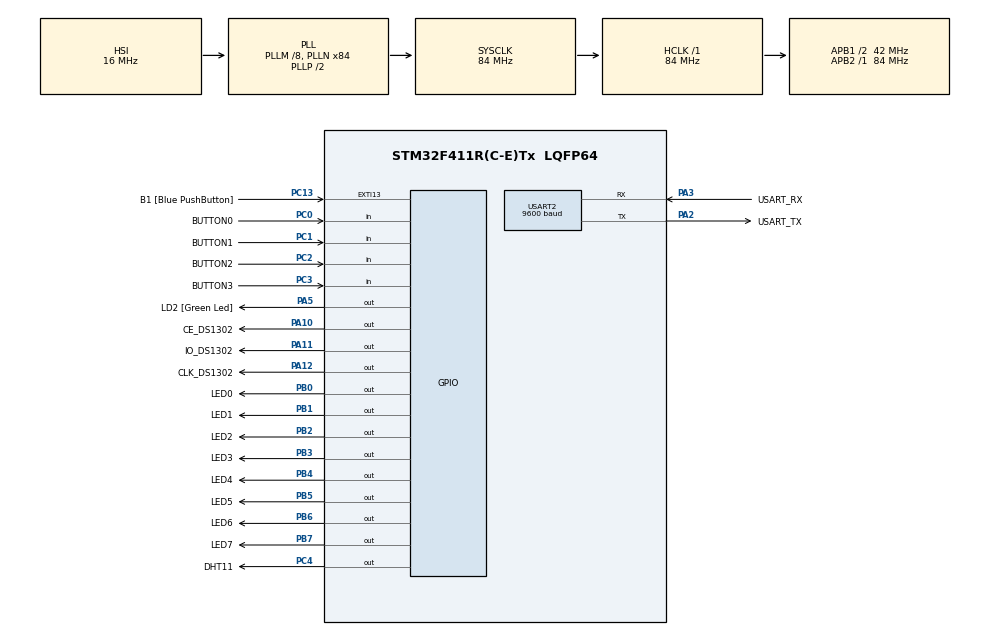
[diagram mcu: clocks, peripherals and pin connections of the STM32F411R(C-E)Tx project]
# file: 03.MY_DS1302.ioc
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Mcu.Family=STM32F4
Mcu.Name=STM32F411R(C-E)Tx
Mcu.Package=LQFP64
NVIC.PriorityGroup=NVIC_PRIORITYGROUP_0
NVIC.TIM1_UP_TIM10_IRQn=true\:0\:0\:false\:false\:true\:true\:true\:true
NVIC.USART2_IRQn=true\:0\:0\:false\:false\:true\:true\:true\:true
PA10.GPIO_Label=CE_DS1302
PA10.Signal=GPIO_Output
PA11.GPIO_Label=IO_DS1302
PA11.Signal=GPIO_Output
PA12.GPIO_Label=CLK_DS1302
PA12.Signal=GPIO_Output
PA13.GPIO_Label=TMS
PA13.Mode=Serial_Wire
PA13.Signal=SYS_JTMS-SWDIO
PA14.GPIO_Label=TCK
PA14.Mode=Serial_Wire
PA14.Signal=SYS_JTCK-SWCLK
PA2.GPIO_Label=USART_TX
PA2.Mode=Asynchronous
PA2.Signal=USART2_TX
PA3.GPIO_Label=USART_RX
PA3.Mode=Asynchronous
PA3.Signal=USART2_RX
PA5.GPIO_Label=LD2 [Green Led]
PA5.Signal=GPIO_Output
PB0.GPIO_Label=LED0
PB0.Signal=GPIO_Output
PB1.GPIO_Label=LED1
PB1.Signal=GPIO_Output
PB2.GPIO_Label=LED2
PB2.Signal=GPIO_Output
PB3.GPIO_Label=LED3
PB3.Signal=GPIO_Output
PB4.GPIO_Label=LED4
PB4.Signal=GPIO_Output
PB5.GPIO_Label=LED5
PB5.Signal=GPIO_Output
PB6.GPIO_Label=LED6
PB6.Signal=GPIO_Output
PB7.GPIO_Label=LED7
PB7.Signal=GPIO_Output
PC0.GPIO_Label=BUTTON0
PC0.Signal=GPIO_Input
PC1.GPIO_Label=BUTTON1
PC1.Signal=GPIO_Input
PC13-ANTI_TAMP.GPIO_Label=B1 [Blue PushButton]
PC13-ANTI_TAMP.GPIO_ModeDefaultEXTI=GPIO_MODE_IT_FALLING
PC13-ANTI_TAMP.Signal=GPXTI13
PC14-OSC32_IN.Mode=LSE-External-Oscillator
PC14-OSC32_IN.Signal=RCC_OSC32_IN
PC15-OSC32_OUT.Mode=LSE-External-Oscillator
PC15-OSC32_OUT.Signal=RCC_OSC32_OUT
PC2.GPIO_Label=BUTTON2
PC2.Signal=GPIO_Input
PC3.GPIO_Label=BUTTON3
PC3.Signal=GPIO_Input
PC4.GPIO_Label=DHT11
PC4.Signal=GPIO_Output
PH0\ -\ OSC_IN.Mode=HSE-External-Clock-Source
PH0\ -\ OSC_IN.Signal=RCC_OSC_IN
PH1\ -\ OSC_OUT.Mode=HSE-External-Clock-Source
PH1\ -\ OSC_OUT.Signal=RCC_OSC_OUT
ProjectManager.HeapSize=0x200
ProjectManager.StackSize=0x400
ProjectManager.TargetToolchain=STM32CubeIDE
RCC.48MHZClocksFreq_Value=42000000
RCC.AHBFreq_Value=84000000
RCC.APB1CLKDivider=RCC_HCLK_DIV2
RCC.APB1Freq_Value=42000000
RCC.APB1TimFreq_Value=84000000
RCC.APB2Freq_Value=84000000
RCC.APB2TimFreq_Value=84000000
RCC.CortexFreq_Value=84000000
RCC.FLatency-AdvancedSettings=FLASH_LATENCY_2
RCC.HCLKFreq_Value=84000000
RCC.HSE_VALUE=8000000
RCC.HSI_VALUE=16000000
RCC.PLLM=8
RCC.PLLN=84
RCC.SYSCLKFreq_VALUE=84000000
RCC.SYSCLKSource=RCC_SYSCLKSOURCE_PLLCLK
RCC.VCOOutputFreq_Value=168000000
TIM10.Period=1000-1
TIM10.Prescaler=84-1
TIM2.Prescaler=84-1
USART2.BaudRate=9600
USART2.VirtualMode=VM_ASYNC
VP_TIM10_VS_ClockSourceINT.Mode=Enable_Timer
VP_TIM2_VS_ClockSourceINT.Mode=Internal
board=NUCLEO-F411RE

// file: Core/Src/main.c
/* USER CODE BEGIN Header */
/**
  ******************************************************************************
  * @file           : main.c
  * @brief          : Main program body
  ******************************************************************************
  */
/* USER CODE END Header */

#include "main.h"
#include <stdio.h>

TIM_HandleTypeDef htim2;
TIM_HandleTypeDef htim10;
UART_HandleTypeDef huart2;

/* USER CODE BEGIN PV */
volatile int TIM10_1ms_counter = 0;
volatile int TIM10_1ms_ledcnt = 0;
uint8_t rx_data; // uart tx data
/* USER CODE END PV */

void SystemClock_Config(void);
static void MX_GPIO_Init(void);
static void MX_USART2_UART_Init(void);
static void MX_TIM10_Init(void);
static void MX_TIM2_Init(void);

/* USER CODE BEGIN PFP */
extern void delay_us(unsigned int us);
extern void pc_command_processing(void); // uart2.c : 명령어 처리
extern void DS1302_Init(void);           // ds1302.c : 초기화
extern void DS1302_read(void);  // ds1302.c : 1초마다 출력
/* USER CODE END PFP */

/* USER CODE BEGIN 0 */
void HAL_TIM_PeriodElapsedCallback(TIM_HandleTypeDef *htim)
{
    if (htim->Instance == TIM10)
    {
        TIM10_1ms_counter++;
        TIM10_1ms_ledcnt++;
    }
}

#ifdef __GNUC__
#define PUTCHAR_PROTOTYPE int __io_putchar(int ch)
#else
#define PUTCHAR_PROTOTYPE int fputc(int ch, FILE *f)
#endif /* __GNUC__ */

PUTCHAR_PROTOTYPE
{
  HAL_UART_Transmit(&huart2, (uint8_t *)&ch, 1, 0xFFFF);
  return ch;
}
/* USER CODE END 0 */

int main(void)
{
  /* MCU Configuration--------------------------------------------------------*/
  HAL_Init();
  SystemClock_Config();

  /* Initialize all configured peripherals */
  MX_GPIO_Init();
  MX_USART2_UART_Init();
  MX_TIM10_Init();
  MX_TIM2_Init();

  /* USER CODE BEGIN 2 */

  HAL_TIM_Base_Start_IT(&htim10);
  HAL_TIM_Base_Start_IT(&htim2);
  HAL_UART_Receive_IT(&huart2, &rx_data, 1);

  DS1302_Init();

  printf("main start !!!\n");
  /* USER CODE END 2 */

  /* Infinite loop */
  /* USER CODE BEGIN WHILE */
  while (1)
  {

      pc_command_processing();

      DS1302_read();

//      HAL_GPIO_WritePin(GPIOB, GPIO_PIN_0 | GPIO_PIN_1 | GPIO_PIN_2 | GPIO_PIN_3 |
//                               GPIO_PIN_4 | GPIO_PIN_5 | GPIO_PIN_6 | GPIO_PIN_7, 1);
//      delay_us(50000); // 50ms
//
//      HAL_GPIO_WritePin(GPIOB, GPIO_PIN_0 | GPIO_PIN_1 | GPIO_PIN_2 | GPIO_PIN_3 |
//                               GPIO_PIN_4 | GPIO_PIN_5 | GPIO_PIN_6 | GPIO_PIN_7, 0);
//      delay_us(50000); // 50ms

    /* USER CODE END WHILE */

  }
}

void SystemClock_Config(void)
{
  RCC_OscInitTypeDef RCC_OscInitStruct = {0};
  RCC_ClkInitTypeDef RCC_ClkInitStruct = {0};

  __HAL_RCC_PWR_CLK_ENABLE();
  __HAL_PWR_VOLTAGESCALING_CONFIG(PWR_REGULATOR_VOLTAGE_SCALE1);

  RCC_OscInitStruct.OscillatorType = RCC_OSCILLATORTYPE_HSI;
  RCC_OscInitStruct.HSIState = RCC_HSI_ON;
  RCC_OscInitStruct.HSICalibrationValue = RCC_HSICALIBRATION_DEFAULT;
  RCC_OscInitStruct.PLL.PLLState = RCC_PLL_ON;
  RCC_OscInitStruct.PLL.PLLSource = RCC_PLLSOURCE_HSI;
  RCC_OscInitStruct.PLL.PLLM = 8;
  RCC_OscInitStruct.PLL.PLLN = 84;
  RCC_OscInitStruct.PLL.PLLP = RCC_PLLP_DIV2;
  RCC_OscInitStruct.PLL.PLLQ = 4;
  if (HAL_RCC_OscConfig(&RCC_OscInitStruct) != HAL_OK)
  {
    Error_Handler();
  }

  RCC_ClkInitStruct.ClockType = RCC_CLOCKTYPE_HCLK|RCC_CLOCKTYPE_SYSCLK
                              |RCC_CLOCKTYPE_PCLK1|RCC_CLOCKTYPE_PCLK2;
  RCC_ClkInitStruct.SYSCLKSource = RCC_SYSCLKSOURCE_PLLCLK;
  RCC_ClkInitStruct.AHBCLKDivider = RCC_SYSCLK_DIV1;
  RCC_ClkInitStruct.APB1CLKDivider = RCC_HCLK_DIV2;
  RCC_ClkInitStruct.APB2CLKDivider = RCC_HCLK_DIV1;

  if (HAL_RCC_ClockConfig(&RCC_ClkInitStruct, FLASH_LATENCY_2) != HAL_OK)
  {
    Error_Handler();
  }
}

static void MX_TIM2_Init(void)
{
  TIM_ClockConfigTypeDef sClockSourceConfig = {0};
  TIM_MasterConfigTypeDef sMasterConfig = {0};

  htim2.Instance = TIM2;
  htim2.Init.Prescaler = 84-1;
  htim2.Init.CounterMode = TIM_COUNTERMODE_UP;
  htim2.Init.Period = 4294967295;
  htim2.Init.ClockDivision = TIM_CLOCKDIVISION_DIV1;
  htim2.Init.AutoReloadPreload = TIM_AUTORELOAD_PRELOAD_DISABLE;
  if (HAL_TIM_Base_Init(&htim2) != HAL_OK) Error_Handler();

  sClockSourceConfig.ClockSource = TIM_CLOCKSOURCE_INTERNAL;
  if (HAL_TIM_ConfigClockSource(&htim2, &sClockSourceConfig) != HAL_OK) Error_Handler();

  sMasterConfig.MasterOutputTrigger = TIM_TRGO_RESET;
  sMasterConfig.MasterSlaveMode = TIM_MASTERSLAVEMODE_DISABLE;
  if (HAL_TIMEx_MasterConfigSynchronization(&htim2, &sMasterConfig) != HAL_OK) Error_Handler();
}

static void MX_TIM10_Init(void)
{
  htim10.Instance = TIM10;
  htim10.Init.Prescaler = 84-1;
  htim10.Init.CounterMode = TIM_COUNTERMODE_UP;
  htim10.Init.Period = 1000-1;
  htim10.Init.ClockDivision = TIM_CLOCKDIVISION_DIV1;
  htim10.Init.AutoReloadPreload = TIM_AUTORELOAD_PRELOAD_DISABLE;
  if (HAL_TIM_Base_Init(&htim10) != HAL_OK) Error_Handler();
}

static void MX_USART2_UART_Init(void)
{
  huart2.Instance = USART2;
  huart2.Init.BaudRate = 9600;
  huart2.Init.WordLength = UART_WORDLENGTH_8B;
  huart2.Init.StopBits = UART_STOPBITS_1;
  huart2.Init.Parity = UART_PARITY_NONE;
  huart2.Init.Mode = UART_MODE_TX_RX;
  huart2.Init.HwFlowCtl = UART_HWCONTROL_NONE;
  huart2.Init.OverSampling = UART_OVERSAMPLING_16;
  if (HAL_UART_Init(&huart2) != HAL_OK) Error_Handler();
}

static void MX_GPIO_Init(void)
{
  GPIO_InitTypeDef GPIO_InitStruct = {0};

  __HAL_RCC_GPIOC_CLK_ENABLE();
  __HAL_RCC_GPIOH_CLK_ENABLE();
  __HAL_RCC_GPIOA_CLK_ENABLE();
  __HAL_RCC_GPIOB_CLK_ENABLE();

  HAL_GPIO_WritePin(GPIOA, LD2_Pin|CE_DS1302_Pin|IO_DS1302_Pin|CLK_DS1302_Pin, GPIO_PIN_RESET);
  HAL_GPIO_WritePin(DHT11_GPIO_Port, DHT11_Pin, GPIO_PIN_RESET);
  HAL_GPIO_WritePin(GPIOB, LED0_Pin|LED1_Pin|LED2_Pin|LED3_Pin
                          |LED4_Pin|LED5_Pin|LED6_Pin|LED7_Pin, GPIO_PIN_RESET);

  GPIO_InitStruct.Pin = B1_Pin;
  GPIO_InitStruct.Mode = GPIO_MODE_IT_FALLING;
  GPIO_InitStruct.Pull = GPIO_NOPULL;
  HAL_GPIO_Init(B1_GPIO_Port, &GPIO_InitStruct);

  GPIO_InitStruct.Pin = BUTTON0_Pin|BUTTON1_Pin|BUTTON2_Pin|BUTTON3_Pin;
  GPIO_InitStruct.Mode = GPIO_MODE_INPUT;
  GPIO_InitStruct.Pull = GPIO_NOPULL;
  HAL_GPIO_Init(GPIOC, &GPIO_InitStruct);

  GPIO_InitStruct.Pin = LD2_Pin|CE_DS1302_Pin|IO_DS1302_Pin|CLK_DS1302_Pin;
  GPIO_InitStruct.Mode = GPIO_MODE_OUTPUT_PP;
  GPIO_InitStruct.Pull = GPIO_NOPULL;
  GPIO_InitStruct.Speed = GPIO_SPEED_FREQ_LOW;
  HAL_GPIO_Init(GPIOA, &GPIO_InitStruct);

  GPIO_InitStruct.Pin = DHT11_Pin;
  GPIO_InitStruct.Mode = GPIO_MODE_OUTPUT_PP;
  GPIO_InitStruct.Pull = GPIO_NOPULL;
  GPIO_InitStruct.Speed = GPIO_SPEED_FREQ_LOW;
  HAL_GPIO_Init(DHT11_GPIO_Port, &GPIO_InitStruct);

  GPIO_InitStruct.Pin = LED0_Pin|LED1_Pin|LED2_Pin|LED3_Pin
                          |LED4_Pin|LED5_Pin|LED6_Pin|LED7_Pin;
  GPIO_InitStruct.Mode = GPIO_MODE_OUTPUT_PP;
  GPIO_InitStruct.Pull = GPIO_NOPULL;
  GPIO_InitStruct.Speed = GPIO_SPEED_FREQ_LOW;
  HAL_GPIO_Init(GPIOB, &GPIO_InitStruct);
}

void Error_Handler(void)
{
  __disable_irq();
  while (1) {}
}
